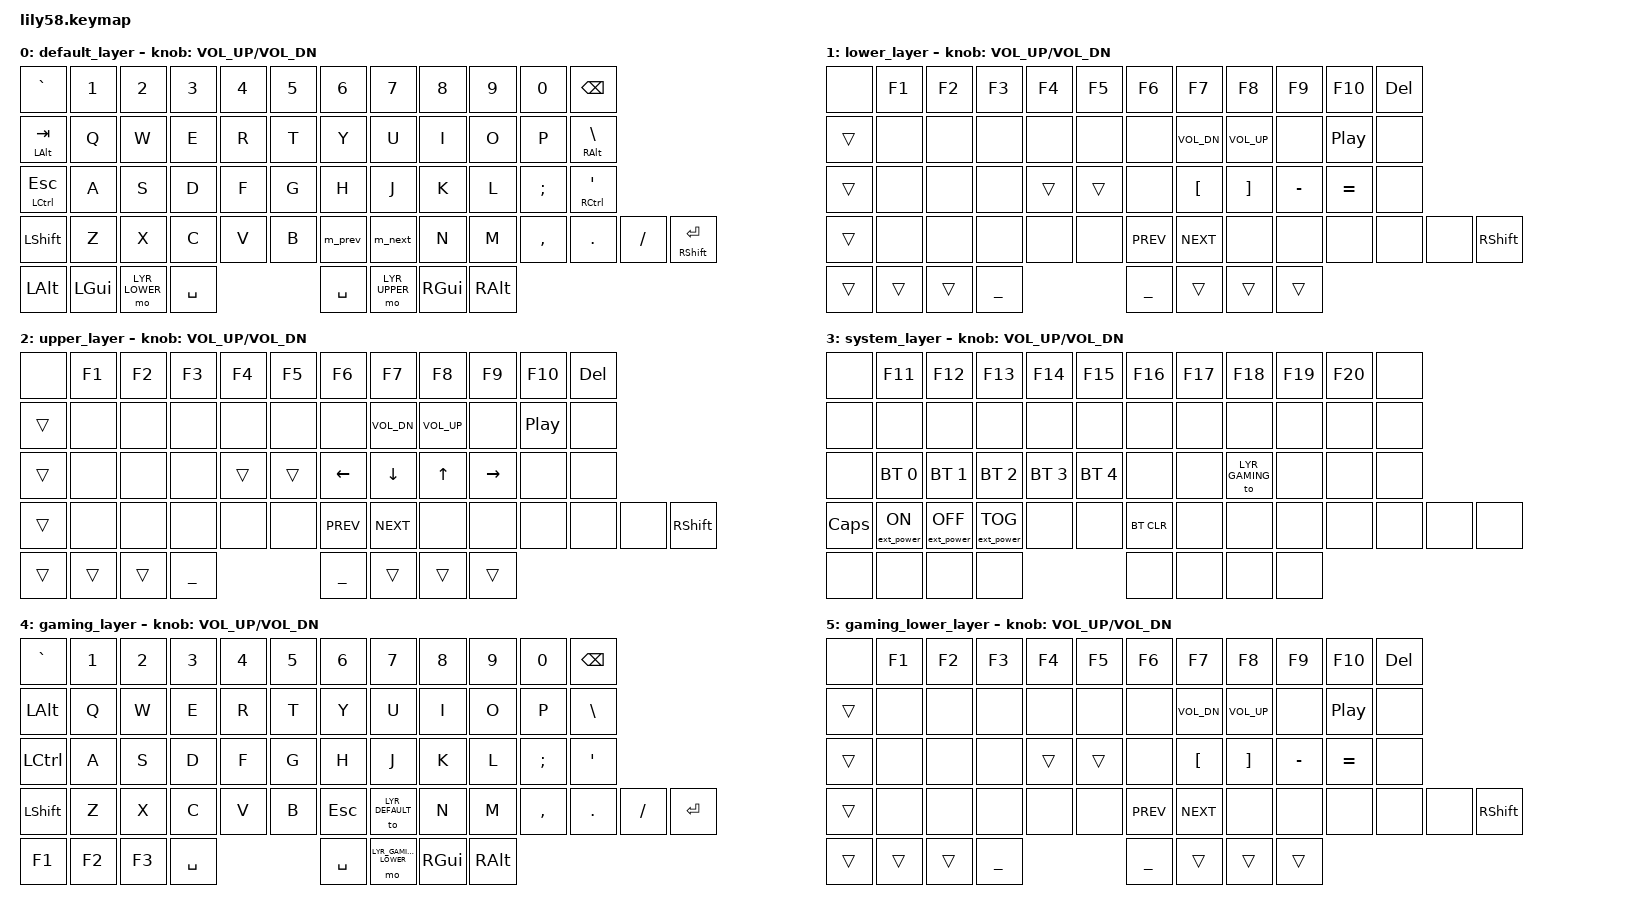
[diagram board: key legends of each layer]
/*
 * Copyright (c) 2020 The ZMK Contributors
 *
 * SPDX-License-Identifier: MIT
 */

#include <behaviors.dtsi>
#include <dt-bindings/zmk/keys.h>
#include <dt-bindings/zmk/bt.h>
#include <dt-bindings/zmk/ext_power.h>

#define LYR_DEFAULT 0
#define LYR_LOWER 1
#define LYR_UPPER 2
#define LYR_SYSTEM 3
#define LYR_GAMING 4
#define LYR_GAMING_LOWER 5

/ {
	conditional_layers {
			compatible = "zmk,conditional-layers";
			system_layer {
					if-layers = <LYR_LOWER LYR_UPPER>;
					then-layer = <LYR_SYSTEM>;
			};
	};

	macros {
			m_next: m_next {
					label = "M_NEXT";
					compatible = "zmk,behavior-macro";
					#binding-cells = <0>;
					bindings
						= <&macro_press &kp RC(TAB)>
						, <&macro_release &kp RC(TAB)>
						;
			};

			m_prev: m_prev {
					label = "M_PREV";
					compatible = "zmk,behavior-macro";
					#binding-cells = <0>;
					bindings
						= <&macro_press &kp LC(LS(TAB))>
						, <&macro_release &kp LC(LS(TAB))>
						;
			};
	};

	behaviors {
			gqt: global-quick-tap {
					compatible = "zmk,behavior-hold-tap";
					label = "GLOBAL_QUICK_TAP";
					#binding-cells = <2>;
					flavor = "hold-preferred";
					tapping-term-ms = <350>;
					quick-tap-ms = <200>;
					global-quick-tap;
					bindings = <&kp>, <&kp>;
			};

			gqtr: global-quick-tap-retro {
					compatible = "zmk,behavior-hold-tap";
					label = "GLOBAL_QUICK_TAP";
					#binding-cells = <2>;
					flavor = "hold-preferred";
					tapping-term-ms = <350>;
					quick-tap-ms = <200>;
					global-quick-tap;
					retro-tap;
					bindings = <&kp>, <&kp>;
			};

			mtq: mod-tap-quick {
					compatible = "zmk,behavior-hold-tap";
					label = "MOD_TAP_QUICK";
					#binding-cells = <2>;
					flavor = "hold-preferred";
					tapping-term-ms = <350>;
					quick-tap-ms = <200>;
					bindings = <&kp>, <&kp>;
					retro-tap;
			};
	};

	keymap {
		compatible = "zmk,keymap";

		default_layer {
			// --------------------------------------------------------------------------------------------------------------------------------------------
			// |   `          |  1  |  2  |  3   |  4   |  5   |                              |  6        |   7   |   8   |  9   |   0   | BKSP           |
			// | TAB h(LALT)  |  Q  |  W  |  E   |  R   |  T   |                              |  Y        |   U   |   I   |  O   |   P   |   \ h(RALT)    |
			// | ESC h(LCTRL) |  A  |  S  |  D   |  F   |  G   |                              |  H        |   J   |   K   |  L   |   ;   |   ' h(RCTRL)   |
			// | LSHFT        |  Z  |  X  |  C   |  V   |  B        |  m_prev   |  |  m_next  |  N        |   M   |   ,   |  .   |   /   |  RET h(RSHFT)  |
			//                            | LALT | LGUI | LYR_LOWER |  SPC      |  |  SPC     | LYR_UPPER |       |       |
			bindings = <
        &kp GRAVE       &kp N1    &kp N2  &kp N3     &kp N4     &kp N5  &kp N6    &kp N7   &kp N8  &kp N9  &kp N0     &kp BSPC
        &gqt LALT TAB   &kp Q     &kp W   &kp E      &kp R      &kp T   &kp Y     &kp U    &kp I   &kp O   &kp P      &gqt RALT BSLH
        &gqt LCTRL ESC  &kp A     &kp S   &kp D      &kp F      &kp G   &kp H     &kp J    &kp K   &kp L   &kp SEMI   &gqtr RCTRL SQT
        &kp LSHFT       &kp Z     &kp X   &kp C      &kp V      &kp B   &m_prev   &m_next  &kp N   &kp M   &kp COMMA  &kp DOT  &kp FSLH  &mtq RSHFT RET
        &kp LALT        &kp LGUI  &mo LYR_LOWER   &kp SPACE  &kp SPACE  &mo LYR_UPPER   &kp RGUI  &kp RALT
			>;

			sensor-bindings = <&inc_dec_kp C_VOL_UP C_VOL_DN>;
		};

		lower_layer {
			// ---------------------------------------------------------------------------------------------------------------------
			// |       |  F1  |  F2  |  F3  |  F4  |  F5  |                    |  F6  |  F7      |  F8      |  F9  |  F10  | DEL   |
			// |       |      |      |      |      |      |                    |      | C_VOL_DN | C_VOL_UP |      | C_PP  |       |
			// |       |      |      |      |      |      |                    |      |   [      |  ]       |  -   | =     |       |
			// |       |      |      |      |      |      | C_PREV |  | C_NEXT |      |          |          |      |       | RSHFT |
			//                       |      |      |      | _      |  | _      |      |          |          |
			bindings = <
        &none   &kp F1  &kp F2  &kp F3     &kp F4     &kp F5  &kp F6      &kp F7        &kp F8        &kp F9     &kp F10    &kp DEL
        &trans  &none   &none   &none      &none      &none   &none       &kp C_VOL_DN  &kp C_VOL_UP  &none      &kp C_PP   &none
        &trans  &none   &none   &none      &trans     &trans  &none       &kp LBKT      &kp RBKT      &kp MINUS  &kp EQUAL  &none
        &trans  &none   &none   &none      &none      &none   &kp C_PREV  &kp C_NEXT    &none         &none      &none      &none  &none  &kp RSHFT
        &trans  &trans  &trans  &kp UNDER  &kp UNDER  &trans  &trans      &trans
			>;

			sensor-bindings = <&inc_dec_kp C_VOL_UP C_VOL_DN>;
		};

		upper_layer {
			// ---------------------------------------------------------------------------------------------------------------------
			// |       |  F1  |  F2  |  F3  |  F4  |  F5  |                    |  F6  |  F7      |  F8      |  F9  |  F10  | DEL   |
			// |       |      |      |      |      |      |                    |      | C_VOL_DN | C_VOL_UP |      | C_PP  |       |
			// |       |      |      |      |      |      |                    |   <- |   v      |  ^       |  ->  |       |       |
			// |       |      |      |      |      |      | C_PREV |  | C_NEXT |      |          |          |      |       | RSHFT |
			//                       |      |      |      | _      |  | _      |      |          |          |
			bindings = <
        &none   &kp F1  &kp F2  &kp F3     &kp F4     &kp F5  &kp F6      &kp F7        &kp F8        &kp F9     &kp F10  &kp DEL
        &trans  &none   &none   &none      &none      &none   &none       &kp C_VOL_DN  &kp C_VOL_UP  &none      &kp C_PP &none
        &trans  &none   &none   &none      &trans     &trans  &kp LEFT    &kp DOWN      &kp UP        &kp RIGHT  &none    &none
        &trans  &none   &none   &none      &none      &none   &kp C_PREV  &kp C_NEXT    &none         &none      &none    &none  &none  &kp RSHFT
        &trans  &trans  &trans  &kp UNDER  &kp UNDER  &trans  &trans      &trans
			>;

			sensor-bindings = <&inc_dec_kp C_VOL_UP C_VOL_DN>;
		};

		system_layer {
			// ----------------------------------------------------------------------------------------------------------------------------
			// |       |  F11  |  F12   | F13    |  F14 |  F15 |                    |  F16 |  F17     |  F18       |  F19 |  F20  |       |
			// |       |       |        |        |      |      |                    |      |          |            |      |       |       |
			// |       |  BT0  |  BT1   | BT2    |  BT3 |  BT4 |                    |      |          | LYR_GAMING |      |       |       |
			// | CAPS  | EP_ON | EP_OFF | EP_TOG |      |      | BT_CLR |  |        |      |          |            |      |       |       |
			//                            |      |      |      |        |  |        |      |          |            |
			bindings = <
        &none     &kp F11           &kp F12            &kp F13            &kp F14       &kp F15       &kp F16     &kp F17  &kp F18  &kp F19  &kp F20  &none
        &none     &none             &none              &none              &none         &none         &none       &none    &none    &none    &none    &none
	&none     &bt BT_SEL 0      &bt BT_SEL 1       &bt BT_SEL 2       &bt BT_SEL 3  &bt BT_SEL 4  &none       &none    &to LYR_GAMING    &none    &none    &none
        &kp CAPS  &ext_power EP_ON  &ext_power EP_OFF  &ext_power EP_TOG  &none         &none         &bt BT_CLR  &none    &none    &none    &none    &none  &none  &none
        &none     &none             &none              &none              &none         &none         &none       &none
			>;

			sensor-bindings = <&inc_dec_kp C_VOL_UP C_VOL_DN>;
		};

		gaming_layer {
			// ------------------------------------------------------------------------------------------------------------
			// |   `   |  1  |  2  |  3   |  4   |  5   |                   |  6   |   7   |   8   |  9   |   0   | BKSP  |
			// |  LALT |  Q  |  W  |  E   |  R   |  T   |                   |  Y   |   U   |   I   |  O   |   P   |   \   |
			// | LCTRL |  A  |  S  |  D   |  F   |  G   |                   |  H   |   J   |   K   |  L   |   ;   |   '   |
			// | LSHFT |  Z  |  X  |  C   |  V   |  B   |  ESC   |  |  ESC  |  N   |   M   |   ,   |  .   |   /   |  RET  |
			//                     |      |      |      |  SPC   |  |  SPC  |      |       |       |
			bindings = <
        &kp GRAVE     &kp N1  &kp N2  &kp N3     &kp N4     &kp N5                &kp N6    &kp N7           &kp N8  &kp N9  &kp N0     &kp BSPC
        &kp LALT      &kp Q   &kp W   &kp E      &kp R      &kp T                 &kp Y     &kp U            &kp I   &kp O   &kp P      &kp BSLH
        &kp LCTRL     &kp A   &kp S   &kp D      &kp F      &kp G                 &kp H     &kp J            &kp K   &kp L   &kp SEMI   &kp SQT
        &kp LSHFT     &kp Z   &kp X   &kp C      &kp V      &kp B                 &kp ESC   &to LYR_DEFAULT  &kp N   &kp M   &kp COMMA  &kp DOT  &kp FSLH  &kp RET
        &kp F1        &kp F2  &kp F3  &kp SPACE  &kp SPACE  &mo LYR_GAMING_LOWER  &kp RGUI  &kp RALT
			>;

			sensor-bindings = <&inc_dec_kp C_VOL_UP C_VOL_DN>;
		};

		gaming_lower_layer {
			// ---------------------------------------------------------------------------------------------------------------------
			// |       |  F1  |  F2  |  F3  |  F4  |  F5  |                    |  F6  |  F7      |  F8      |  F9  |  F10  | DEL   |
			// |       |      |      |      |      |      |                    |      | C_VOL_DN | C_VOL_UP |      | C_PP  |       |
			// |       |      |      |      |      |      |                    |      |   [      |  ]       |  -   | =     |       |
			// |       |      |      |      |      |      | C_PREV |  | C_NEXT |      |          |          |      |       | RSHFT |
			//                       |      |      |      | _      |  | _      |      |          |          |
			bindings = <
        &none   &kp F1  &kp F2  &kp F3     &kp F4     &kp F5  &kp F6      &kp F7        &kp F8        &kp F9     &kp F10    &kp DEL
        &trans  &none   &none   &none      &none      &none   &none       &kp C_VOL_DN  &kp C_VOL_UP  &none      &kp C_PP   &none
        &trans  &none   &none   &none      &trans     &trans  &none       &kp LBKT      &kp RBKT      &kp MINUS  &kp EQUAL  &none
        &trans  &none   &none   &none      &none      &none   &kp C_PREV  &kp C_NEXT    &none         &none      &none      &none  &none  &kp RSHFT
        &trans  &trans  &trans  &kp UNDER  &kp UNDER  &trans  &trans      &trans
			>;

			sensor-bindings = <&inc_dec_kp C_VOL_UP C_VOL_DN>;
		};

	};
};
